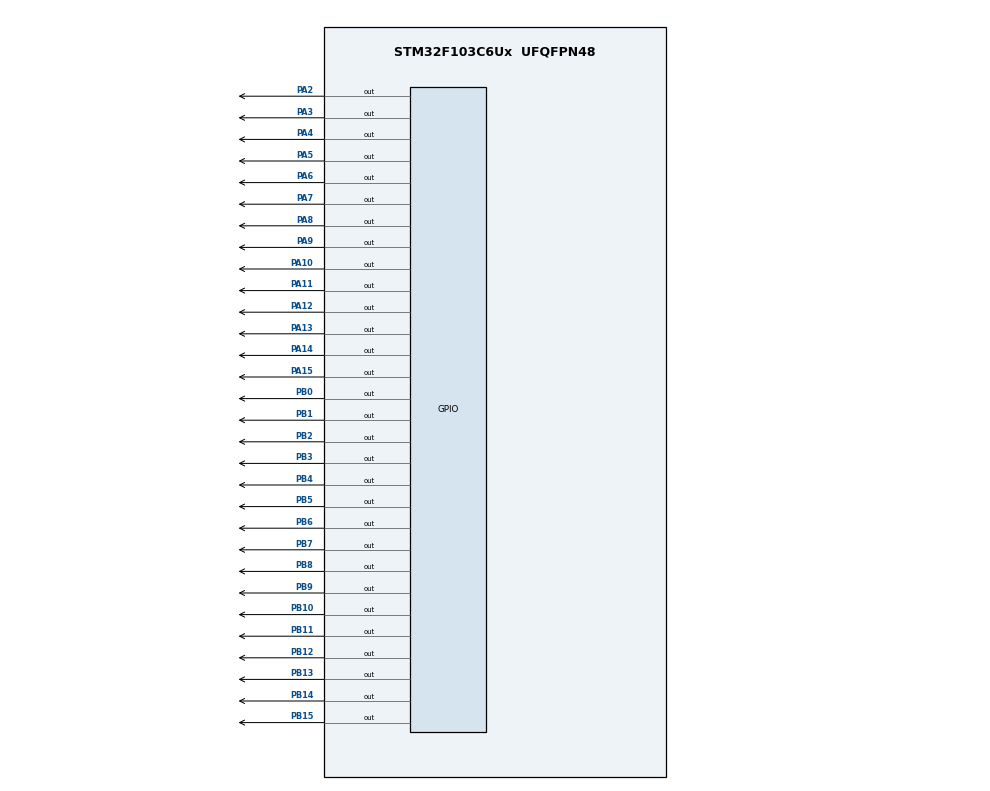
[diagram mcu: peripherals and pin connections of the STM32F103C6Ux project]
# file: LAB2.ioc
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Mcu.Family=STM32F1
Mcu.Name=STM32F103C6Ux
Mcu.Package=UFQFPN48
NVIC.PriorityGroup=NVIC_PRIORITYGROUP_4
NVIC.TIM2_IRQn=true\:0\:0\:false\:false\:true\:true\:true
PA10.Signal=GPIO_Output
PA11.Signal=GPIO_Output
PA12.Signal=GPIO_Output
PA13.Signal=GPIO_Output
PA14.Signal=GPIO_Output
PA15.Signal=GPIO_Output
PA2.Signal=GPIO_Output
PA3.Signal=GPIO_Output
PA4.Signal=GPIO_Output
PA5.Signal=GPIO_Output
PA6.Signal=GPIO_Output
PA7.Signal=GPIO_Output
PA8.Signal=GPIO_Output
PA9.Signal=GPIO_Output
PB0.Signal=GPIO_Output
PB1.Signal=GPIO_Output
PB10.Signal=GPIO_Output
PB11.Signal=GPIO_Output
PB12.Signal=GPIO_Output
PB13.Signal=GPIO_Output
PB14.Signal=GPIO_Output
PB15.Signal=GPIO_Output
PB2.Signal=GPIO_Output
PB3.Signal=GPIO_Output
PB4.Signal=GPIO_Output
PB5.Signal=GPIO_Output
PB6.Signal=GPIO_Output
PB7.Signal=GPIO_Output
PB8.Signal=GPIO_Output
PB9.Signal=GPIO_Output
ProjectManager.HeapSize=0x200
ProjectManager.StackSize=0x400
ProjectManager.TargetToolchain=STM32CubeIDE
RCC.APB1Freq_Value=8000000
RCC.APB2Freq_Value=8000000
TIM2.Period=9
TIM2.Prescaler=7999
VP_SYS_VS_ND.Mode=No_Debug
VP_TIM2_VS_ClockSourceINT.Mode=Internal
board=custom

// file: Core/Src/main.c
/* USER CODE BEGIN Header */
/**
  **************************************************************************
  * @file           : main.c
  * @brief          : Main program body
  **************************************************************************
  * @attention
  *
  * <h2><center>&copy; Copyright (c) 2026 STMicroelectronics.
  * All rights reserved.</center></h2>
  *
  * This software component is licensed by ST under BSD 3-Clause license,
  * the "License"; You may not use this file except in compliance with the
  * License. You may obtain a copy of the License at:
  *                        opensource.org/licenses/BSD-3-Clause
  *
  **************************************************************************
  */
/* USER CODE END Header */
#include "main.h"

TIM_HandleTypeDef htim2;

void SystemClock_Config(void);
static void MX_GPIO_Init(void);
static void MX_TIM2_Init(void);

/* USER CODE BEGIN 0 */
/* Pin map (theo schematic):
 *  GPIOB: PB0..PB6 = SEG0..SEG6 | PB8..PB15 = ROW0..ROW7
 *  GPIOA: PA2,PA3 = ENM0,ENM1 | PA10..PA15 = ENM2..ENM7
 *         PA4 = DOT (D2,D3) | PA5 = LED-RED | PA6..PA9 = EN0..EN3 */
void display7SEG(int num)
{
    switch (num)
    {
    case 0:
        HAL_GPIO_WritePin(GPIOB, GPIO_PIN_0, GPIO_PIN_RESET);
        HAL_GPIO_WritePin(GPIOB, GPIO_PIN_1, GPIO_PIN_RESET);
        HAL_GPIO_WritePin(GPIOB, GPIO_PIN_2, GPIO_PIN_RESET);
        HAL_GPIO_WritePin(GPIOB, GPIO_PIN_3, GPIO_PIN_RESET);
        HAL_GPIO_WritePin(GPIOB, GPIO_PIN_4, GPIO_PIN_RESET);
        HAL_GPIO_WritePin(GPIOB, GPIO_PIN_5, GPIO_PIN_RESET);
        HAL_GPIO_WritePin(GPIOB, GPIO_PIN_6, GPIO_PIN_SET);
        break;

    case 1:
        HAL_GPIO_WritePin(GPIOB, GPIO_PIN_0, GPIO_PIN_SET);
        HAL_GPIO_WritePin(GPIOB, GPIO_PIN_1, GPIO_PIN_RESET);
        HAL_GPIO_WritePin(GPIOB, GPIO_PIN_2, GPIO_PIN_RESET);
        HAL_GPIO_WritePin(GPIOB, GPIO_PIN_3, GPIO_PIN_SET);
        HAL_GPIO_WritePin(GPIOB, GPIO_PIN_4, GPIO_PIN_SET);
        HAL_GPIO_WritePin(GPIOB, GPIO_PIN_5, GPIO_PIN_SET);
        HAL_GPIO_WritePin(GPIOB, GPIO_PIN_6, GPIO_PIN_SET);
        break;

    case 2:
        HAL_GPIO_WritePin(GPIOB, GPIO_PIN_0, GPIO_PIN_RESET);
        HAL_GPIO_WritePin(GPIOB, GPIO_PIN_1, GPIO_PIN_RESET);
        HAL_GPIO_WritePin(GPIOB, GPIO_PIN_2, GPIO_PIN_SET);
        HAL_GPIO_WritePin(GPIOB, GPIO_PIN_3, GPIO_PIN_RESET);
        HAL_GPIO_WritePin(GPIOB, GPIO_PIN_4, GPIO_PIN_RESET);
        HAL_GPIO_WritePin(GPIOB, GPIO_PIN_5, GPIO_PIN_SET);
        HAL_GPIO_WritePin(GPIOB, GPIO_PIN_6, GPIO_PIN_RESET);
        break;

    case 3:
        HAL_GPIO_WritePin(GPIOB, GPIO_PIN_0, GPIO_PIN_RESET);
        HAL_GPIO_WritePin(GPIOB, GPIO_PIN_1, GPIO_PIN_RESET);
        HAL_GPIO_WritePin(GPIOB, GPIO_PIN_2, GPIO_PIN_RESET);
        HAL_GPIO_WritePin(GPIOB, GPIO_PIN_3, GPIO_PIN_RESET);
        HAL_GPIO_WritePin(GPIOB, GPIO_PIN_4, GPIO_PIN_SET);
        HAL_GPIO_WritePin(GPIOB, GPIO_PIN_5, GPIO_PIN_SET);
        HAL_GPIO_WritePin(GPIOB, GPIO_PIN_6, GPIO_PIN_RESET);
        break;

    case 4:
        HAL_GPIO_WritePin(GPIOB, GPIO_PIN_0, GPIO_PIN_SET);
        HAL_GPIO_WritePin(GPIOB, GPIO_PIN_1, GPIO_PIN_RESET);
        HAL_GPIO_WritePin(GPIOB, GPIO_PIN_2, GPIO_PIN_RESET);
        HAL_GPIO_WritePin(GPIOB, GPIO_PIN_3, GPIO_PIN_SET);
        HAL_GPIO_WritePin(GPIOB, GPIO_PIN_4, GPIO_PIN_SET);
        HAL_GPIO_WritePin(GPIOB, GPIO_PIN_5, GPIO_PIN_RESET);
        HAL_GPIO_WritePin(GPIOB, GPIO_PIN_6, GPIO_PIN_RESET);
        break;

    case 5:
        HAL_GPIO_WritePin(GPIOB, GPIO_PIN_0, GPIO_PIN_RESET);
        HAL_GPIO_WritePin(GPIOB, GPIO_PIN_1, GPIO_PIN_SET);
        HAL_GPIO_WritePin(GPIOB, GPIO_PIN_2, GPIO_PIN_RESET);
        HAL_GPIO_WritePin(GPIOB, GPIO_PIN_3, GPIO_PIN_RESET);
        HAL_GPIO_WritePin(GPIOB, GPIO_PIN_4, GPIO_PIN_SET);
        HAL_GPIO_WritePin(GPIOB, GPIO_PIN_5, GPIO_PIN_RESET);
        HAL_GPIO_WritePin(GPIOB, GPIO_PIN_6, GPIO_PIN_RESET);
        break;

    case 6:
        HAL_GPIO_WritePin(GPIOB, GPIO_PIN_0, GPIO_PIN_RESET);
        HAL_GPIO_WritePin(GPIOB, GPIO_PIN_1, GPIO_PIN_SET);
        HAL_GPIO_WritePin(GPIOB, GPIO_PIN_2, GPIO_PIN_RESET);
        HAL_GPIO_WritePin(GPIOB, GPIO_PIN_3, GPIO_PIN_RESET);
        HAL_GPIO_WritePin(GPIOB, GPIO_PIN_4, GPIO_PIN_RESET);
        HAL_GPIO_WritePin(GPIOB, GPIO_PIN_5, GPIO_PIN_RESET);
        HAL_GPIO_WritePin(GPIOB, GPIO_PIN_6, GPIO_PIN_RESET);
        break;

    case 7:
        HAL_GPIO_WritePin(GPIOB, GPIO_PIN_0, GPIO_PIN_RESET);
        HAL_GPIO_WritePin(GPIOB, GPIO_PIN_1, GPIO_PIN_RESET);
        HAL_GPIO_WritePin(GPIOB, GPIO_PIN_2, GPIO_PIN_RESET);
        HAL_GPIO_WritePin(GPIOB, GPIO_PIN_3, GPIO_PIN_SET);
        HAL_GPIO_WritePin(GPIOB, GPIO_PIN_4, GPIO_PIN_SET);
        HAL_GPIO_WritePin(GPIOB, GPIO_PIN_5, GPIO_PIN_SET);
        HAL_GPIO_WritePin(GPIOB, GPIO_PIN_6, GPIO_PIN_SET);
        break;

    case 8:
        HAL_GPIO_WritePin(GPIOB, GPIO_PIN_0, GPIO_PIN_RESET);
        HAL_GPIO_WritePin(GPIOB, GPIO_PIN_1, GPIO_PIN_RESET);
        HAL_GPIO_WritePin(GPIOB, GPIO_PIN_2, GPIO_PIN_RESET);
        HAL_GPIO_WritePin(GPIOB, GPIO_PIN_3, GPIO_PIN_RESET);
        HAL_GPIO_WritePin(GPIOB, GPIO_PIN_4, GPIO_PIN_RESET);
        HAL_GPIO_WritePin(GPIOB, GPIO_PIN_5, GPIO_PIN_RESET);
        HAL_GPIO_WritePin(GPIOB, GPIO_PIN_6, GPIO_PIN_RESET);
        break;

    case 9:
        HAL_GPIO_WritePin(GPIOB, GPIO_PIN_0, GPIO_PIN_RESET);
        HAL_GPIO_WritePin(GPIOB, GPIO_PIN_1, GPIO_PIN_RESET);
        HAL_GPIO_WritePin(GPIOB, GPIO_PIN_2, GPIO_PIN_RESET);
        HAL_GPIO_WritePin(GPIOB, GPIO_PIN_3, GPIO_PIN_RESET);
        HAL_GPIO_WritePin(GPIOB, GPIO_PIN_4, GPIO_PIN_SET);
        HAL_GPIO_WritePin(GPIOB, GPIO_PIN_5, GPIO_PIN_RESET);
        HAL_GPIO_WritePin(GPIOB, GPIO_PIN_6, GPIO_PIN_RESET);
        break;
    }
}
const int MAX_LED = 4;

int index_led = 0;

int led_buffer[4];
void update7SEG(int index)
{
    // Turn off all 4 displays first
    HAL_GPIO_WritePin(GPIOA, GPIO_PIN_6, GPIO_PIN_SET);
    HAL_GPIO_WritePin(GPIOA, GPIO_PIN_7, GPIO_PIN_SET);
    HAL_GPIO_WritePin(GPIOA, GPIO_PIN_8, GPIO_PIN_SET);
    HAL_GPIO_WritePin(GPIOA, GPIO_PIN_9, GPIO_PIN_SET);

    switch (index)
    {
        case 0:
            display7SEG(led_buffer[0]);
            HAL_GPIO_WritePin(GPIOA, GPIO_PIN_6, GPIO_PIN_RESET);
            break;

        case 1:
            display7SEG(led_buffer[1]);
            HAL_GPIO_WritePin(GPIOA, GPIO_PIN_7, GPIO_PIN_RESET);
            break;

        case 2:
            display7SEG(led_buffer[2]);
            HAL_GPIO_WritePin(GPIOA, GPIO_PIN_8, GPIO_PIN_RESET);
            break;

        case 3:
            display7SEG(led_buffer[3]);
            HAL_GPIO_WritePin(GPIOA, GPIO_PIN_9, GPIO_PIN_RESET);
            break;

        default:
            break;
    }
}

int hour = 15, minute = 8, second = 50;

void updateClockBuffer(void)
{
    led_buffer[0] = hour / 10;
    led_buffer[1] = hour % 10;
    led_buffer[2] = minute / 10;
    led_buffer[3] = minute % 10;
}

volatile int timer0_counter = 0;
volatile int timer0_flag = 0;
int TIMER_CYCLE = 10;

volatile int timer1_counter = 0;
volatile int timer1_flag = 0;

void setTimer0(int duration)
{
    timer0_counter = duration / TIMER_CYCLE;
    timer0_flag = 0;
}

void setTimer1(int duration)
{
    timer1_counter = duration / TIMER_CYCLE;
    timer1_flag = 0;
}
volatile int timer2_counter = 0;
volatile int timer2_flag = 0;
void setTimer2(int duration)
{
    timer2_counter = duration / TIMER_CYCLE;
    timer2_flag = 0;
}

volatile int timer3_counter = 0;
volatile int timer3_flag = 0;

void setTimer3(int duration)
{
    timer3_counter = duration / TIMER_CYCLE;
    timer3_flag = 0;
}

void timer_run()
{
    if (timer0_counter > 0)
    {
        timer0_counter--;

        if (timer0_counter == 0)
            timer0_flag = 1;
    }

    if (timer1_counter > 0)
    {
        timer1_counter--;

        if (timer1_counter == 0)
            timer1_flag = 1;
    }
    if (timer2_counter > 0)
    {
        timer2_counter--;

        if (timer2_counter == 0)
            timer2_flag = 1;
    }
    if (timer3_counter > 0)
    {
        timer3_counter--;

        if (timer3_counter == 0)
            timer3_flag = 1;
    }
}
int dot_state = 0;   /* 0: D2,D3 tat | 1: D2,D3 sang */

const int MAX_LED_MATRIX = 8;

int index_led_matrix = 0;
int matrix_shift_count = 0;

const uint8_t matrix_A[8] = {
    0x00,
    0x7E,
    0x11,
    0x11,
    0x11,
    0x7E,
    0x00,
    0x00
};

uint8_t matrix_buffer[8] = {
    0x00,
    0x7E,
    0x11,
    0x11,
    0x11,
    0x7E,
    0x00,
    0x00
};

void turnOffMatrix(void)
{
    HAL_GPIO_WritePin(GPIOA, GPIO_PIN_2, GPIO_PIN_RESET);
    HAL_GPIO_WritePin(GPIOA, GPIO_PIN_3, GPIO_PIN_RESET);
    HAL_GPIO_WritePin(GPIOA, GPIO_PIN_10, GPIO_PIN_RESET);
    HAL_GPIO_WritePin(GPIOA, GPIO_PIN_11, GPIO_PIN_RESET);
    HAL_GPIO_WritePin(GPIOA, GPIO_PIN_12, GPIO_PIN_RESET);
    HAL_GPIO_WritePin(GPIOA, GPIO_PIN_13, GPIO_PIN_RESET);
    HAL_GPIO_WritePin(GPIOA, GPIO_PIN_14, GPIO_PIN_RESET);
    HAL_GPIO_WritePin(GPIOA, GPIO_PIN_15, GPIO_PIN_RESET);
}

void writeMatrixRows(uint8_t data)
{
    HAL_GPIO_WritePin(GPIOB, GPIO_PIN_8,
        (data & 0x01) ? GPIO_PIN_SET : GPIO_PIN_RESET);

    HAL_GPIO_WritePin(GPIOB, GPIO_PIN_9,
        (data & 0x02) ? GPIO_PIN_SET : GPIO_PIN_RESET);

    HAL_GPIO_WritePin(GPIOB, GPIO_PIN_10,
        (data & 0x04) ? GPIO_PIN_SET : GPIO_PIN_RESET);

    HAL_GPIO_WritePin(GPIOB, GPIO_PIN_11,
        (data & 0x08) ? GPIO_PIN_SET : GPIO_PIN_RESET);

    HAL_GPIO_WritePin(GPIOB, GPIO_PIN_12,
        (data & 0x10) ? GPIO_PIN_SET : GPIO_PIN_RESET);

    HAL_GPIO_WritePin(GPIOB, GPIO_PIN_13,
        (data & 0x20) ? GPIO_PIN_SET : GPIO_PIN_RESET);

    HAL_GPIO_WritePin(GPIOB, GPIO_PIN_14,
        (data & 0x40) ? GPIO_PIN_SET : GPIO_PIN_RESET);

    HAL_GPIO_WritePin(GPIOB, GPIO_PIN_15,
        (data & 0x80) ? GPIO_PIN_SET : GPIO_PIN_RESET);
}

void updateLEDMatrix(int index)
{
    if (index < 0 || index >= MAX_LED_MATRIX)
        return;

    turnOffMatrix();

    writeMatrixRows(matrix_buffer[index]);

    switch (index)
    {
        case 0:
            HAL_GPIO_WritePin(GPIOA, GPIO_PIN_2, GPIO_PIN_SET);
            break;

        case 1:
            HAL_GPIO_WritePin(GPIOA, GPIO_PIN_3, GPIO_PIN_SET);
            break;

        case 2:
            HAL_GPIO_WritePin(GPIOA, GPIO_PIN_10, GPIO_PIN_SET);
            break;

        case 3:
            HAL_GPIO_WritePin(GPIOA, GPIO_PIN_11, GPIO_PIN_SET);
            break;

        case 4:
            HAL_GPIO_WritePin(GPIOA, GPIO_PIN_12, GPIO_PIN_SET);
            break;

        case 5:
            HAL_GPIO_WritePin(GPIOA, GPIO_PIN_13, GPIO_PIN_SET);
            break;

        case 6:
            HAL_GPIO_WritePin(GPIOA, GPIO_PIN_14, GPIO_PIN_SET);
            break;

        case 7:
            HAL_GPIO_WritePin(GPIOA, GPIO_PIN_15, GPIO_PIN_SET);
            break;

        default:
            break;
    }
}

void matrixScanTask(void)
{
    static uint32_t last_scan = 0;

    if ((HAL_GetTick() - last_scan) >= 2)
    {
        last_scan = HAL_GetTick();

        updateLEDMatrix(index_led_matrix);

        index_led_matrix++;

        if (index_led_matrix >= MAX_LED_MATRIX)
            index_led_matrix = 0;
    }
}

void loadLetterA(void)
{
    int i;

    for (i = 0; i < MAX_LED_MATRIX; i++)
    {
        matrix_buffer[i] = matrix_A[i];
    }

    index_led_matrix = 0;
    matrix_shift_count = 0;
}

void shiftMatrixLeft(void)
{
    int i;

    for (i = 0; i < 7; i++)
    {
        matrix_buffer[i] = matrix_buffer[i + 1];
    }

    matrix_buffer[7] = 0x00;

    matrix_shift_count++;

    if (matrix_shift_count >= 8)
    {
        loadLetterA();
    }
}

/* USER CODE END 0 */

int main(void)
{

  /* MCU Configuration--------------------------------------------------------*/

  /* Reset of all peripherals, Initializes the Flash interface and the Systick. */
  HAL_Init();

  /* Configure the system clock */
  SystemClock_Config();

  /* Initialize all configured peripherals */
  MX_GPIO_Init();
  MX_TIM2_Init();
  /* USER CODE BEGIN 2 */
  HAL_TIM_Base_Start_IT(&htim2);

  updateClockBuffer();

  loadLetterA();
  /* USER CODE END 2 */

  /* LED RED (PA5): anode 3.3V -> muc thap la sang, giu sang suot chuong trinh */
  HAL_GPIO_WritePin(GPIOA, GPIO_PIN_5, GPIO_PIN_RESET);
  /* D2, D3 (PA4 - DOT): anode 3.3V -> muc thap la sang */
  dot_state = 1;
  HAL_GPIO_WritePin(GPIOA, GPIO_PIN_4, GPIO_PIN_RESET);

  /* Infinite loop */
  /* USER CODE BEGIN WHILE */
  setTimer0(1000);
  setTimer1(250);
  setTimer2(1000);   /* D2, D3 (DOT) nhap nhay moi 1s */
  setTimer3(500);

  while (1)
  {
      if (timer0_flag == 1)
      {
          second++;

          if (second >= 60)
          {
              second = 0;
              minute++;
          }

          if (minute >= 60)
          {
              minute = 0;
              hour++;
          }

          if (hour >= 24)
          {
              hour = 0;
          }

          updateClockBuffer();

          setTimer0(1000);
      }

      if (timer1_flag == 1)
      {
          update7SEG(index_led++);

          if (index_led >= MAX_LED)
          {
              index_led = 0;
          }

          setTimer1(250);
      }

      if (timer2_flag == 1)
      {
          dot_state = !dot_state;
          HAL_GPIO_WritePin(GPIOA, GPIO_PIN_4,
                            dot_state ? GPIO_PIN_RESET : GPIO_PIN_SET);   /* D2, D3 nhap nhay */
          HAL_GPIO_WritePin(GPIOA, GPIO_PIN_5, GPIO_PIN_RESET);          /* LED RED luon sang */
          setTimer2(1000);
      }

      matrixScanTask();

      if (timer3_flag == 1)
      {
          shiftMatrixLeft();
          setTimer3(500);
      }
  }
  /* USER CODE END 3 */
}

void SystemClock_Config(void)
{
  RCC_OscInitTypeDef RCC_OscInitStruct = {0};
  RCC_ClkInitTypeDef RCC_ClkInitStruct = {0};

  /** Initializes the RCC Oscillators according to the specified parameters
  * in the RCC_OscInitTypeDef structure.
  */
  RCC_OscInitStruct.OscillatorType = RCC_OSCILLATORTYPE_HSI;
  RCC_OscInitStruct.HSIState = RCC_HSI_ON;
  RCC_OscInitStruct.HSICalibrationValue = RCC_HSICALIBRATION_DEFAULT;
  RCC_OscInitStruct.PLL.PLLState = RCC_PLL_NONE;
  if (HAL_RCC_OscConfig(&RCC_OscInitStruct) != HAL_OK)
  {
    Error_Handler();
  }
  /** Initializes the CPU, AHB and APB buses clocks
  */
  RCC_ClkInitStruct.ClockType = RCC_CLOCKTYPE_HCLK|RCC_CLOCKTYPE_SYSCLK
                              |RCC_CLOCKTYPE_PCLK1|RCC_CLOCKTYPE_PCLK2;
  RCC_ClkInitStruct.SYSCLKSource = RCC_SYSCLKSOURCE_HSI;
  RCC_ClkInitStruct.AHBCLKDivider = RCC_SYSCLK_DIV1;
  RCC_ClkInitStruct.APB1CLKDivider = RCC_HCLK_DIV1;
  RCC_ClkInitStruct.APB2CLKDivider = RCC_HCLK_DIV1;

  if (HAL_RCC_ClockConfig(&RCC_ClkInitStruct, FLASH_LATENCY_0) != HAL_OK)
  {
    Error_Handler();
  }
}

static void MX_TIM2_Init(void)
{

  TIM_ClockConfigTypeDef sClockSourceConfig = {0};
  TIM_MasterConfigTypeDef sMasterConfig = {0};

  htim2.Instance = TIM2;
  htim2.Init.Prescaler = 7999;
  htim2.Init.CounterMode = TIM_COUNTERMODE_UP;
  htim2.Init.Period = 9;
  htim2.Init.ClockDivision = TIM_CLOCKDIVISION_DIV1;
  htim2.Init.AutoReloadPreload = TIM_AUTORELOAD_PRELOAD_DISABLE;
  if (HAL_TIM_Base_Init(&htim2) != HAL_OK)
  {
    Error_Handler();
  }
  sClockSourceConfig.ClockSource = TIM_CLOCKSOURCE_INTERNAL;
  if (HAL_TIM_ConfigClockSource(&htim2, &sClockSourceConfig) != HAL_OK)
  {
    Error_Handler();
  }
  sMasterConfig.MasterOutputTrigger = TIM_TRGO_RESET;
  sMasterConfig.MasterSlaveMode = TIM_MASTERSLAVEMODE_DISABLE;
  if (HAL_TIMEx_MasterConfigSynchronization(&htim2, &sMasterConfig) != HAL_OK)
  {
    Error_Handler();
  }

}

static void MX_GPIO_Init(void)
{
  GPIO_InitTypeDef GPIO_InitStruct = {0};

  /* GPIO Ports Clock Enable */
  __HAL_RCC_GPIOA_CLK_ENABLE();
  __HAL_RCC_GPIOB_CLK_ENABLE();

  /*Configure GPIO pin Output Level */
  HAL_GPIO_WritePin(GPIOA, GPIO_PIN_2|GPIO_PIN_3|GPIO_PIN_4|GPIO_PIN_5
                          |GPIO_PIN_6|GPIO_PIN_7|GPIO_PIN_8|GPIO_PIN_9
                          |GPIO_PIN_10|GPIO_PIN_11|GPIO_PIN_12|GPIO_PIN_13
                          |GPIO_PIN_14|GPIO_PIN_15, GPIO_PIN_RESET);

  /*Configure GPIO pin Output Level */
  HAL_GPIO_WritePin(GPIOB, GPIO_PIN_0|GPIO_PIN_1|GPIO_PIN_2|GPIO_PIN_10
                          |GPIO_PIN_11|GPIO_PIN_12|GPIO_PIN_13|GPIO_PIN_14
                          |GPIO_PIN_15|GPIO_PIN_3|GPIO_PIN_4|GPIO_PIN_5
                          |GPIO_PIN_6|GPIO_PIN_8|GPIO_PIN_9, GPIO_PIN_RESET);

  GPIO_InitStruct.Pin = GPIO_PIN_2|GPIO_PIN_3|GPIO_PIN_4|GPIO_PIN_5
                          |GPIO_PIN_6|GPIO_PIN_7|GPIO_PIN_8|GPIO_PIN_9
                          |GPIO_PIN_10|GPIO_PIN_11|GPIO_PIN_12|GPIO_PIN_13
                          |GPIO_PIN_14|GPIO_PIN_15;
  GPIO_InitStruct.Mode = GPIO_MODE_OUTPUT_PP;
  GPIO_InitStruct.Pull = GPIO_NOPULL;
  GPIO_InitStruct.Speed = GPIO_SPEED_FREQ_LOW;
  HAL_GPIO_Init(GPIOA, &GPIO_InitStruct);

  GPIO_InitStruct.Pin = GPIO_PIN_0|GPIO_PIN_1|GPIO_PIN_2|GPIO_PIN_10
                          |GPIO_PIN_11|GPIO_PIN_12|GPIO_PIN_13|GPIO_PIN_14
                          |GPIO_PIN_15|GPIO_PIN_3|GPIO_PIN_4|GPIO_PIN_5
                          |GPIO_PIN_6|GPIO_PIN_8|GPIO_PIN_9;
  GPIO_InitStruct.Mode = GPIO_MODE_OUTPUT_PP;
  GPIO_InitStruct.Pull = GPIO_NOPULL;
  GPIO_InitStruct.Speed = GPIO_SPEED_FREQ_LOW;
  HAL_GPIO_Init(GPIOB, &GPIO_InitStruct);

}

/* USER CODE BEGIN 4 */
void HAL_TIM_PeriodElapsedCallback(TIM_HandleTypeDef *htim)
{
    timer_run();
}
/* USER CODE END 4 */

void Error_Handler(void)
{
  __disable_irq();
  while (1)
  {
  }
}

/************************ (C) COPYRIGHT STMicroelectronics *****END OF FILE****/
